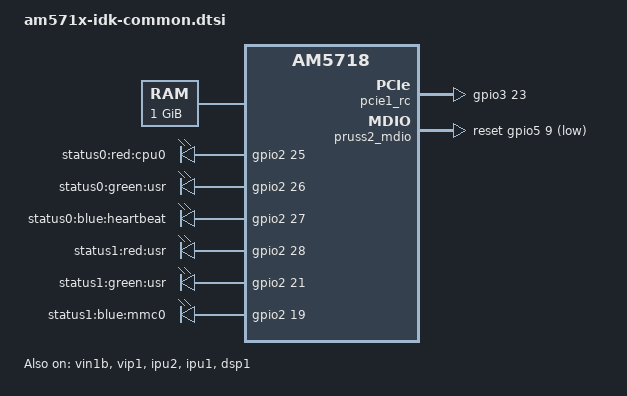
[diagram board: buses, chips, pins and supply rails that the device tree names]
/*
 * Copyright (C) 2015-2016 Texas Instruments Incorporated - http://www.ti.com/
 *
 * This program is free software; you can redistribute it and/or modify
 * it under the terms of the GNU General Public License version 2 as
 * published by the Free Software Foundation.
 */
/dts-v1/;

#include "dra72x.dtsi"
#include <dt-bindings/gpio/gpio.h>
#include <dt-bindings/interrupt-controller/irq.h>
#include "am57xx-idk-common.dtsi"
#include "dra72x-mmc-iodelay.dtsi"
#include "dra7-ipu-dsp-common.dtsi"

/ {
	compatible = "ti,am5718-idk", "ti,am5718", "ti,dra7";

	memory@80000000 {
		device_type = "memory";
		reg = <0x0 0x80000000 0x0 0x40000000>;
	};

	reserved-memory {
		#address-cells = <2>;
		#size-cells = <2>;
		ranges;

		ipu2_memory_region: ipu2-memory@95800000 {
			compatible = "shared-dma-pool";
			reg = <0x0 0x95800000 0x0 0x3800000>;
			reusable;
			status = "okay";
		};

		dsp1_memory_region: dsp1-memory@99000000 {
			compatible = "shared-dma-pool";
			reg = <0x0 0x99000000 0x0 0x4000000>;
			reusable;
			status = "okay";
		};

		ipu1_memory_region: ipu1-memory@9d000000 {
			compatible = "shared-dma-pool";
			reg = <0x0 0x9d000000 0x0 0x2000000>;
			reusable;
			status = "okay";
		};
	};

	leds {
		compatible = "gpio-leds";
		cpu0-led {
			label = "status0:red:cpu0";
			gpios = <&gpio2 25 GPIO_ACTIVE_HIGH>;
			default-state = "off";
			linux,default-trigger = "cpu0";
		};

		usr0-led {
			label = "status0:green:usr";
			gpios = <&gpio2 26 GPIO_ACTIVE_HIGH>;
			default-state = "off";
		};

		heartbeat-led {
			label = "status0:blue:heartbeat";
			gpios = <&gpio2 27 GPIO_ACTIVE_HIGH>;
			default-state = "off";
			linux,default-trigger = "heartbeat";
		};

		usr1-led {
			label = "status1:red:usr";
			gpios = <&gpio2 28 GPIO_ACTIVE_HIGH>;
			default-state = "off";
		};

		usr2-led {
			label = "status1:green:usr";
			gpios = <&gpio2 21 GPIO_ACTIVE_HIGH>;
			default-state = "off";
		};

		mmc0-led {
			label = "status1:blue:mmc0";
			gpios = <&gpio2 19 GPIO_ACTIVE_HIGH>;
			default-state = "off";
			linux,default-trigger = "mmc0";
		};
	};
};

&extcon_usb2 {
	id-gpio = <&gpio5 7 GPIO_ACTIVE_HIGH>;
	vbus-gpio = <&gpio7 22 GPIO_ACTIVE_HIGH>;
};

&pcie1_rc {
	status = "okay";
	gpios = <&gpio3 23 GPIO_ACTIVE_HIGH>;
};

&pcie1_ep {
	gpios = <&gpio3 23 GPIO_ACTIVE_HIGH>;
};

&mmc1 {
	pinctrl-names = "default", "hs", "sdr12", "sdr25", "sdr50", "ddr50", "sdr104";
	pinctrl-0 = <&mmc1_pins_default_no_clk_pu>;
	pinctrl-1 = <&mmc1_pins_hs>;
	pinctrl-2 = <&mmc1_pins_sdr12>;
	pinctrl-3 = <&mmc1_pins_sdr25>;
	pinctrl-4 = <&mmc1_pins_sdr50>;
	pinctrl-5 = <&mmc1_pins_ddr50_rev20 &mmc1_iodelay_ddr50_conf>;
	pinctrl-6 = <&mmc1_pins_sdr104 &mmc1_iodelay_sdr104_rev20_conf>;
};

&mmc2 {
	pinctrl-names = "default", "hs", "ddr_1_8v";
	pinctrl-0 = <&mmc2_pins_default>;
	pinctrl-1 = <&mmc2_pins_hs>;
	pinctrl-2 = <&mmc2_pins_ddr_rev20 &mmc2_iodelay_ddr_conf>;
};

&ov2659_1 {
	remote-endpoint = <&vin1b>;
};

&vin1b {
	status = "okay";

	endpoint@2 {
		slave-mode;
		remote-endpoint = <&ov2659_1>;
	};
};

&vip1 {
	status = "okay";
};

&pruss2_mdio {
	reset-gpios = <&gpio5 9 GPIO_ACTIVE_LOW>;
	reset-delay-us = <2>;   /* PHY datasheet states 1uS min */
};

&ipu2 {
	status = "okay";
	memory-region = <&ipu2_memory_region>;
};

&ipu1 {
	status = "okay";
	memory-region = <&ipu1_memory_region>;
};

&dsp1 {
	status = "okay";
	memory-region = <&dsp1_memory_region>;
};
